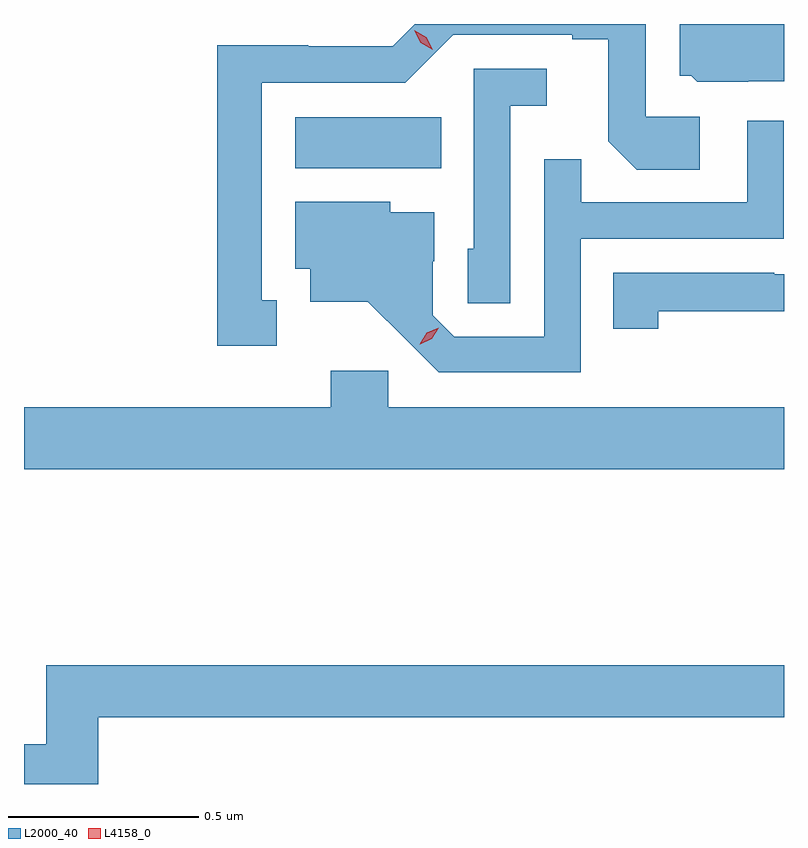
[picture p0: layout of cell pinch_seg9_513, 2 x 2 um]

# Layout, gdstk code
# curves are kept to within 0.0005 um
import gdstk
lib = gdstk.Library(unit=1e-6, precision=1e-09)
def R(c, l, rs):  # rectangles x0, y0, x1, y1
    for r in rs: c.add(gdstk.rectangle(r[:2], r[2:], *l))
def P(c, l, *ps):  # polygons
    for p in ps: c.add(gdstk.Polygon(p, *l))
L2000_40 = (2000, 40)
L4158_0 = (4158, 0)

pinch_seg9_513 = lib.new_cell('pinch_seg9_513')
R(pinch_seg9_513, L2000_40, [(292.328,1202.54,292.712,1202.674)])
P(pinch_seg9_513, L2000_40, [(292.279,1202.193),(292.24,1202.193),(292.24,1202.766),(292.617,1202.766),(292.743,1202.892),(293.057,1202.892),(293.057,1202.88),(293.151,1202.88),(293.151,1202.612),(293.227,1202.536),(293.392,1202.536),(293.392,1202.676),(293.25,1202.676),(293.25,1202.92),(292.642,1202.92),(292.584,1202.862),(292.362,1202.862),(292.362,1202.864),(292.122,1202.864),(292.122,1202.073),(292.279,1202.073)],
  [(293.52,1202.769),(293.614,1202.769),(293.614,1202.92),(293.339,1202.92),(293.339,1202.784),(293.37,1202.784),(293.386,1202.768),(293.52,1202.768)],
  [(292.893,1202.705),(292.99,1202.705),(292.99,1202.802),(292.797,1202.802),(292.797,1202.328),(292.782,1202.328),(292.782,1202.185),(292.893,1202.185)],
  [(293.079,1202.355),(293.613,1202.355),(293.613,1202.665),(293.517,1202.665),(293.517,1202.451),(293.081,1202.451),(293.081,1202.564),(292.983,1202.564),(292.983,1202.097),(292.746,1202.097),(292.689,1202.154),(292.689,1202.296),(292.693,1202.296),(292.693,1202.425),(292.578,1202.425),(292.578,1202.452),(292.328,1202.452),(292.328,1202.276),(292.367,1202.276),(292.367,1202.189),(292.519,1202.189),(292.706,1202.004),(293.079,1202.004)],
  [(293.283,1202.164),(293.614,1202.164),(293.614,1202.262),(293.588,1202.262),(293.588,1202.265),(293.164,1202.265),(293.164,1202.118),(293.283,1202.118)],
  [(293.614,1201.912),(292.572,1201.912),(292.572,1202.008),(292.421,1202.008),(292.421,1201.912),(291.614,1201.912),(291.614,1201.748),(293.614,1201.748)],
  [(291.809,1201.096),(293.614,1201.096),(293.614,1201.232),(291.673,1201.232),(291.673,1201.025),(291.614,1201.025),(291.614,1200.92),(291.809,1200.92)])
P(pinch_seg9_513, L4158_0, [(292.656,1202.077),(292.656,1202.077),(292.674,1202.107),(292.705,1202.121),(292.705,1202.121),(292.705,1202.121),(292.687,1202.092),(292.657,1202.077)],
  [(292.689,1202.852),(292.658,1202.871),(292.641,1202.904),(292.641,1202.904),(292.641,1202.904),(292.672,1202.885),(292.69,1202.852),(292.69,1202.852)])

lib.write_gds('pinch_seg9_513.gds')
